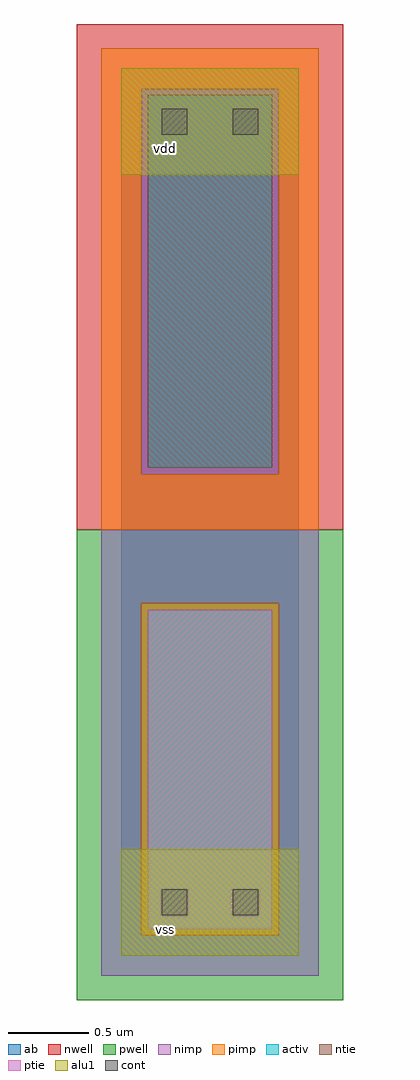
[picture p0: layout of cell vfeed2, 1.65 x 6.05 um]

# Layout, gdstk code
import gdstk
lib = gdstk.Library(unit=1e-6, precision=2.5e-09)
def R(c, l, rs):  # rectangles x0, y0, x1, y1
    for r in rs: c.add(gdstk.rectangle(r[:2], r[2:], *l))
ntie = (5, 0)
ptie = (6, 0)
cont = (25, 0)
pwell = (41, 0)
nwell = (42, 0)
activ = (43, 0)
pimp = (44, 0)
nimp = (45, 0)
alu1 = (49, 0)
ab = (63, 0)

vfeed2 = lib.new_cell('vfeed2')
R(vfeed2, ntie, [(0.165,3.025,0.935,5.335)])
R(vfeed2, ptie, [(0.165,0.165,0.935,2.145)])
R(vfeed2, cont, [(0.25,0.25,0.41,0.41), (0.69,0.25,0.85,0.41), (0.25,5.09,0.41,5.25), (0.69,5.09,0.85,5.25)])
R(vfeed2, pwell, [(-0.275,-0.275,1.375,2.64)])
R(vfeed2, nwell, [(-0.275,2.64,1.375,5.775)])
R(vfeed2, activ, [(0.165,0.165,0.935,2.145), (0.165,3.025,0.935,5.335)])
R(vfeed2, pimp, [(0.125,0.125,0.975,2.185), (-0.125,2.64,1.225,2.985), (-0.125,2.985,0.125,5.375), (0.975,2.985,1.225,5.375), (-0.125,5.375,1.225,5.625)])
R(vfeed2, nimp, [(-0.125,-0.125,1.225,0.125), (-0.125,0.125,0.125,2.185), (0.975,0.125,1.225,2.185), (-0.125,2.185,1.225,2.64), (0.125,2.985,0.975,5.375)])
R(vfeed2, alu1, [(0,0,1.1,0.66), (0,4.84,1.1,5.5)])
R(vfeed2, ab, [(0,0,1.1,5.5)])
vfeed2.add(gdstk.Label('vss', (0.275,0.165), layer=49, texttype=0))
vfeed2.add(gdstk.Label('vdd', (0.275,5.005), layer=49, texttype=0))

lib.write_gds('vfeed2.gds')
